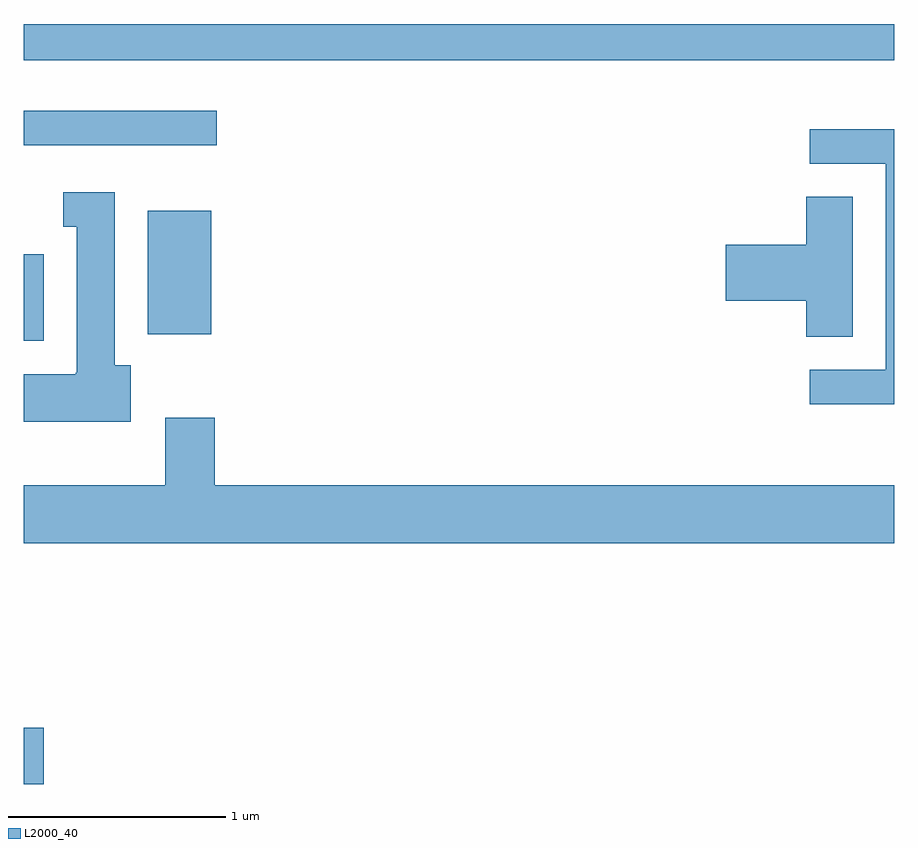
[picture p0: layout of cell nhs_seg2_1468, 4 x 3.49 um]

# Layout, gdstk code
import gdstk
lib = gdstk.Library(unit=1e-6, precision=1e-09)
def R(c, l, rs):  # rectangles x0, y0, x1, y1
    for r in rs: c.add(gdstk.rectangle(r[:2], r[2:], *l))
def P(c, l, *ps):  # polygons
    for p in ps: c.add(gdstk.Polygon(p, *l))
L2000_40 = (2000, 40)

nhs_seg2_1468 = lib.new_cell('nhs_seg2_1468')
R(nhs_seg2_1468, L2000_40, [(227.611,1058.311,227.704,1058.569), (227.611,1060.346,227.704,1060.744), (228.181,1060.376,228.474,1060.944), (227.611,1061.246,228.498,1061.404), (227.611,1061.636,231.611,1061.802)])
P(nhs_seg2_1468, L2000_40, [(231.611,1061.319),(231.223,1061.319),(231.223,1061.161),(231.571,1061.161),(231.571,1060.214),(231.223,1060.214),(231.223,1060.056),(231.611,1060.056)],
  [(228.104,1060.234),(228.029,1060.234),(228.029,1061.029),(227.793,1061.029),(227.793,1060.871),(227.856,1060.871),(227.856,1060.2),(227.85,1060.2),(227.85,1060.194),(227.611,1060.194),(227.611,1059.976),(228.104,1059.976)],
  [(231.419,1061.009),(231.206,1061.009),(231.206,1060.789),(230.836,1060.789),(230.836,1060.531),(231.206,1060.531),(231.206,1060.366),(231.419,1060.366)],
  [(231.611,1059.684),(228.489,1059.684),(228.489,1059.994),(228.261,1059.994),(228.261,1059.684),(227.611,1059.684),(227.611,1059.416),(231.611,1059.416)])

lib.write_gds('nhs_seg2_1468.gds')
